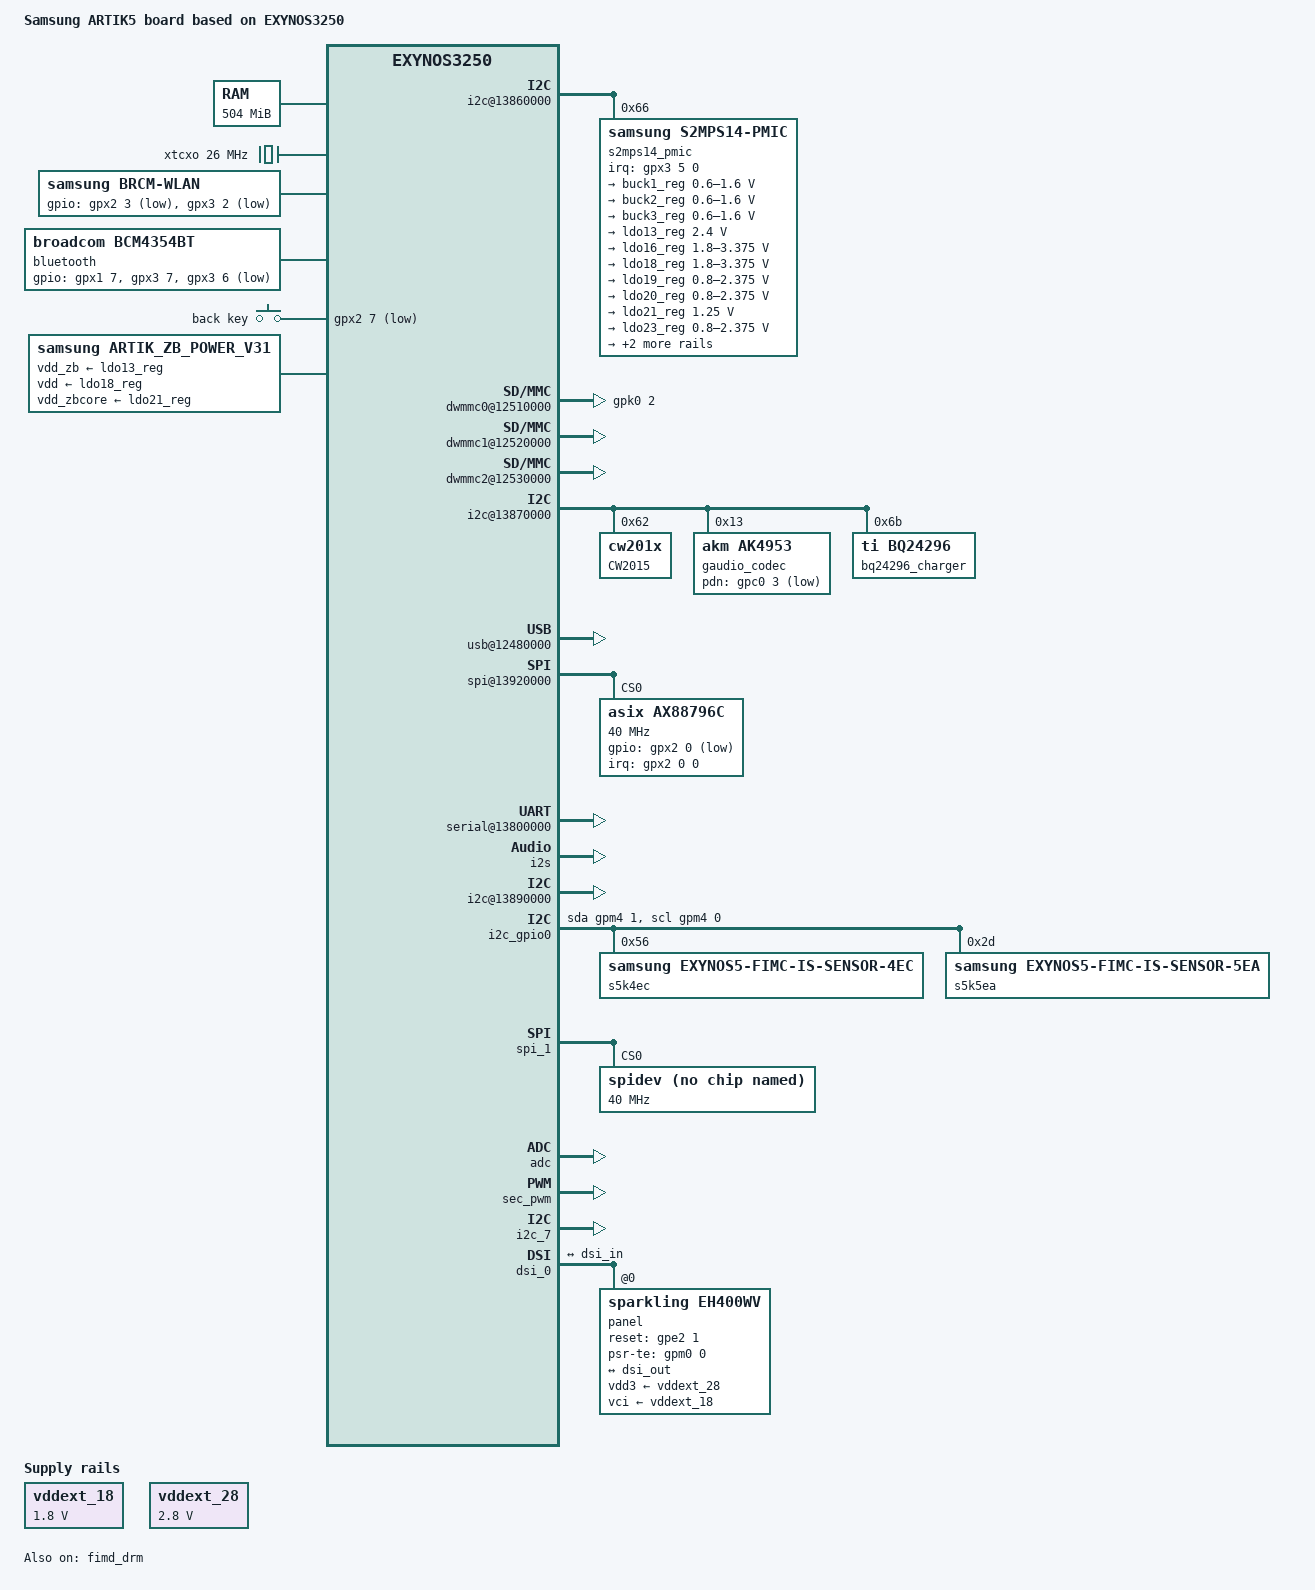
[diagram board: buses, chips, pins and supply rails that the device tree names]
/*
 * SAMSUNG ARTIK5 board device tree source
 *
 * Copyright (c) 2015 Samsung Electronics Co., Ltd.
 *		http://www.samsung.com
 *
 * This program is free software; you can redistribute it and/or modify
 * it under the terms of the GNU General Public License version 2 as
 * published by the Free Software Foundation.
*/

/dts-v1/;
#include "exynos3250.dtsi"

/ {
	model = "Samsung ARTIK5 board based on EXYNOS3250";
	compatible = "samsung,artik5", "samsung,exynos3250";

	chosen {
		bootargs = "console=ttySAC2,115200 vmalloc=256M ess_setup=0x46000000";
	};

	memory {
		reg = <0x40000000 0x1F800000>;
	};

	aliases {
		i2c8 = &i2c_gpio0;
	};

	fixed-rate-clocks {
		#address-cells = <1>;
		#size-cells = <0>;

		xrtcxti: clock@0 {
			compatible = "fixed-clock";
			reg = <0>;
			clock-frequency = <32768>;
			#clock-cells = <0>;
			clock-output-names = "xrtcxti";
		};

		xusbxti: clock@1 {
			compatible = "fixed-clock";
			clock-frequency = <24000000>;
			reg = <1>;
			#clock-cells = <0>;
			clock-output-names = "xusbxti";
		};

		xxti: clock@2 {
			compatible = "fixed-clock";
			reg = <2>;
			clock-frequency = <0>;
			#clock-cells = <0>;
			clock-output-names = "xxti";
			};

		xtcxo: clock@3 {
			compatible = "fixed-clock";
			reg = <3>;
			clock-frequency = <26000000>;
			#clock-cells = <0>;
			clock-output-names = "xtcxo";
		};

		audiocdclk: clock@4 {
			compatible = "fixed-clock";
			reg = <4>;
			clock-frequency = <0>;
			#clock-cells = <0>;
			clock-output-names = "audiocdclk";
		};
	};

	i2c@13860000 {
		status = "okay";
		samsung,i2c-sda-delay = <100>;
		samsung,i2c-max-bus-freq = <400000>;
		#size-cells = <0>;

		s2mps14_pmic@66 {
			compatible = "samsung,s2mps14-pmic";
			reg = <0x66>;
			interrupts = <5 0 0>;
			interrupt-parent = <&gpx3>;
			pinctrl-names = "default";
			pinctrl-0 = <&pmic_irq &pm_wrsti>;
			/* RTC: wtsr/smpl */
                        wtsr_en = <1>; /* enable */
                        smpl_en = <1>; /* enable */
                        wtsr_timer_val = <3>;   /* 1000ms */
                        smpl_timer_val = <4>;   /* 500ms */
                        check_jigon = <0>; /* do not check jigon */
                        /* RTC: If it's first boot, reset rtc to 1/1/2014 12:00:00(Wed) */
                        init_time,sec = <0>;
                        init_time,min = <0>;
                        init_time,hour = <12>;
                        init_time,mday = <1>;
                        init_time,mon = <0>;
                        init_time,year = <114>;
                        init_time,wday = <3>;

			regulators {
				buck1_reg: BUCK1 {
					regulator-name = "vdd_mif";
					regulator-min-microvolt = <600000>;
					regulator-max-microvolt = <1600000>;
					regulator-always-on;
					regulator-boot-on;
					regulator-ramp-delay = <12000>;
					regulator-initial-mode = <1>;
				};

				buck2_reg: BUCK2 {
					regulator-name = "vdd_arm";
					regulator-min-microvolt = <600000>;
					regulator-max-microvolt = <1600000>;
					regulator-always-on;
					regulator-boot-on;
					regulator-ramp-delay = <12000>;
					regulator-initial-mode = <1>;
				};

				buck3_reg: BUCK3 {
					regulator-name = "vdd_int";
					regulator-min-microvolt = <600000>;
					regulator-max-microvolt = <1600000>;
					regulator-always-on;
					regulator-boot-on;
					regulator-ramp-delay = <12000>;
					regulator-initial-mode = <1>;
				};

				ldo13_reg: LDO13 {
					regulator-name = "vdd_zb_2.8";
					regulator-min-microvolt = <2400000>;
					regulator-max-microvolt = <2400000>;
					regulator-initial-mode = <1>;
				};

				ldo16_reg: LDO16 {
					regulator-name = "vdd_lcd_3.3";
					regulator-min-microvolt = <1800000>;
					regulator-max-microvolt = <3375000>;
					regulator-initial-mode = <1>;
				};

				ldo18_reg: LDO18 {
					regulator-name = "vcc_peri_device_2.8";
					regulator-min-microvolt = <1800000>;
					regulator-max-microvolt = <3375000>;
					regulator-initial-mode = <1>;
				};

				ldo19_reg: LDO19 {
					regulator-name = "vcc_avdd_1.8";
					regulator-min-microvolt = <800000>;
					regulator-max-microvolt = <2375000>;
					regulator-initial-mode = <1>;
				};

				ldo20_reg: LDO20 {
					regulator-name = "vcc_peri_device_1.8";
					regulator-min-microvolt = <800000>;
					regulator-max-microvolt = <2375000>;
					regulator-initial-mode = <1>;
				};

				ldo21_reg: LDO21 {
					regulator-name = "zbcore_1.25";
					regulator-min-microvolt = <1250000>;
					regulator-max-microvolt = <1250000>;
					regulator-initial-mode = <1>;
				};

				ldo23_reg: LDO23 {
					regulator-name = "vcc_peri_1.8";
					regulator-min-microvolt = <800000>;
					regulator-max-microvolt = <2375000>;
					regulator-always-on;
				};

				ldo6_reg: LDO6 {
                                        regulator-name = "VDD_USB_AP_1.0V";
                                        regulator-min-microvolt = <1000000>;
                                        regulator-max-microvolt = <1000000>;
                                        regulator-always-on;
					regulator-initial-mode = <1>;
                                };

				ldo8_reg: LDO8 {
                                        regulator-name = "VDD_UOTG_AP_3.3V";
                                        regulator-min-microvolt = <3000000>;
                                        regulator-max-microvolt = <3000000>;
                                };

				ldo2_reg: LDO2 {
					regulator-always-on;
					regulator-initial-mode = <1>;
                                };

				ldo4_reg: LDO4 {
					regulator-always-on;
                                        regulator-initial-mode = <1>;
                                };

				ldo5_reg: LDO5 {
					regulator-always-on;
                                        regulator-initial-mode = <1>;
                                };

				ldo7_reg: LDO7 {
					regulator-always-on;
                                        regulator-initial-mode = <1>;
                                };
			};
		};
	};

	dwmmc0@12510000 {
		status = "okay";
		num-slots = <1>;
		broken-cd;
		bypass-smu;
		fixed_volt;
		only_once_tune;
		extra_tuning;
		supports-highspeed;
		enable-cache-control;
		sw_data_timeout;
		fifo-depth = <0x80>;
		card-detect-delay = <200>;
		samsung,dw-mshc-ciu-div = <3>;
		samsung,dw-mshc-sdr-timing = <3 0 2 1>;
		samsung,dw-mshc-ddr-timing = <3 0 4 2>;
		samsung,dw-mshc-hs200-timing = <3 0 2 0>;
		samsung,dw-mshc-ddr200-timing = <1 1 2 0>;
		num-ref-clks = <8>;
		gpios = <&gpk0 2 0x1>;
		ciu_clkin = <25 50 50 100 200 100 200 200>;
		pinctrl-names = "default";
		pinctrl-0 = <&sd0_clk &sd0_cmd &sd0_bus1 &sd0_bus4 &sd0_bus8>;

		slot@0 {
			reg = <0>;
			bus-width = <8>;
		};
	};

	dwmmc1@12520000 {
		status = "okay";
		num-slots = <1>;
		channel = <1>;
		caps-control;
		bypass-smu;
		clock-gate;
		enable-cclk-on-suspend;
		fixed_volt;
		use-fine-tuning;
		supports-highspeed;
		sw_data_timeout;
		keep-power-in-suspend;
		pm-ignore-notify;
		cd-type-external;
		cd-type = <2>;
		use-broken-voltage;
		fifo-depth = <0x40>;
		card-detect-delay = <200>;
		qos_int_level = <222000>;
		samsung,dw-mshc-ciu-div = <3>;
		samsung,dw-mshc-sdr-timing = <3 0 3 0>;
		samsung,dw-mshc-ddr-timing = <3 0 2 0>;
		clk_pin = "gpk1-0";
		clk_addr = "11000000.pinctrl";
		clk_val = <0x3>;
		clk_str_num = <4>;
		num-ref-clks = <8>;
		ciu_clkin = <25 50 50 100 200 100 200 400>;
		pinctrl-names = "default";
		pinctrl-0 = <&sd1_clk &sd1_cmd &sd1_bus1 &sd1_bus4>;

		slot@0 {
			reg = <0>;
			bus-width = <4>;
			disable-wp;
		};
	};

	dwmmc2@12530000 {
		status = "okay";
		num-slots = <1>;
		bypass-smu;
		supports-highspeed;
		fixed_volt;
		cd-type = <1>;
		fifo-depth = <0x80>;
		card-detect-delay = <200>;
		samsung,dw-mshc-ciu-div = <3>;
		samsung,dw-mshc-sdr-timing = <3 0 2 1>;
		samsung,dw-mshc-ddr-timing = <3 0 4 2>;
		num-ref-clks = <8>;
		ciu_clkin = <25 50 50 100 200 100 200 200>;
		pinctrl-names = "default";
		pinctrl-0 = <&sd2_clk &sd2_cmd &sd2_cd &sd2_bus1 &sd2_bus4>;

		slot@0 {
			reg = <0>;
			bus-width = <4>;
			disable-wp;
		};
	};

        ion {
                compatible = "samsung,exynos5430-ion";

		contig-names = "mfc_sh",
				"video",
				"mfc_fw",
				"mfc_nfw";

		contig = <2 0x100000 0x0>,
			<11 0xA00000 0x0>,
			<8 0x100000 0x0>,
			<12 0x100000 0x0>;

                ion_noncontig_heap {
                        id-type = <0 0>;
                };

		exynos_contig_heap {
			id-type = <4 6>;
		};

        };

	i2c@13870000 {
	        samsung,i2c-sda-delay = <25>;
	        samsung,i2c-max-bus-freq = <400000>;
	        #address-cells = <1>;
	        #size-cells = <0>;
	        status = "okay";

	        CW2015@62 {
	                compatible = "cw201x";
	                reg = <0x62>;
	                /*      pinctrl-0 = <&cw_irq>; */
	                bat_config_info = <0x17 0x67 0x6C 0x70 0x70 0x6F 0x6A 0x65 0x62 0x5B
	                                   0x55 0x4F 0x4A 0x46 0x43 0x3D 0x35 0x2B 0x26 0x22
	                                   0x21 0x2B 0x42 0x4D 0x49 0x49 0x0B 0x85 0x09 0x12
	                                   0x1D 0x3A 0x47 0x44 0x43 0x4B 0x39 0x17 0x37 0x48
	                                   0x04 0x16 0x52 0x87 0x8F 0x91 0x94 0x52 0x82 0x8C
	                                   0x92 0x96 0x81 0x6B 0xC0 0xCB 0x2F 0x7D 0x72 0xA5
	                                   0xB5 0xC1 0x6A 0x09>;
	                /*
	                 is_dc_charge = <1>;
	                 dc_det_gpio = <1>;
	                 is_usb_charge = <0>;
	                */
	        };
	};

	sysreg_localout: sysreg_localout@10010000 {
		compatible = "samsung,exynos5-sysreg_localout";
		reg = <0x10010000 0x2000>;
	};

	mdev_0: mdev_output {
		compatible = "samsung,exynos5-mdev";
	};

	usb@12480000 {
		vusb_d-supply = <&ldo6_reg>;
		vusb_a-supply = <&ldo8_reg>;
		status = "okay";
	};

	slp_multi: slp_multi {
		compatible = "slp,slp_multi";
		slp,slp_mult-nluns = <2>;
		slp,slp_mult-swfi-latency = <1>;
		slp,slp_mult-nfuncs = <4>;
		slp,slp_mult-enable-funcs = "rndis", "sdb", "mtp", "acm";
	};

	spi@13920000 {
		status = "okay";
			#address-cells = <1>;
			#size-cells = <0>;
		ax88796c@0 {
			compatible = "asix,ax88796c";
			gpios = <&gpx2 0 1>;
			interrupt-parent = <&gpx2>;
			interrupts = <0 0 0>;
			pinctrl-names = "default";
			pinctrl-0 = <&eint16>;
			spi-max-frequency = <40000000>;
			/* swap-mode; */
			/* spi-cpol; */
			/* spi-cpha; */
			reg = <0x0>;
			ax88796c,reset = <&gpe0 2 1>;
			clocks = <&clock CLK_FOUT_MPLL>,
				<&clock CLK_DIV_MPLL_PRE>,
				<&clock CLK_MOUT_SPI0>,
				<&clock CLK_SCLK_SPI0>;
			clock-names = "fout_mpll", "dout_mpll_pre", "mout_spi0", "sclk_spi0";
			controller-data {
				cs-gpio = <&gpx3 4 1>;
				samsung,spi-feedback-delay = <2>;
				samsung,spi-chip-select-mode;
			};
		};
	};

	serial@13800000 {
		status = "okay";
	};

	pinctrl@11000000 {
		cfg_wlanen: cfg-wlanen {
			samsung,pins = "gpx2-3";
			samsung,pin-function = <1>;
			samsung,pin-pud = <0>;
			samsung,pin-drv = <3>;
			samsung,pin-con-pdn = <3>;
			samsung,pin-pud-pdn = <0>;
		};

		cfg_wlanhostwake: cfg-wlanhostwake {
			samsung,pins = "gpx3-2";
			samsung,pin-function = <0>;
			samsung,pin-pud = <1>;
			samsung,pin-con-pdn = <2>;
			samsung,pin-pud-pdn = <0>;
		};

		cfg_en: cfg-en {
			samsung,pins ="gpx1-7";
			samsung,pin-function = <1>;
			samsung,pin-pud = <1>;
			samsung,pin-con-pdn = <3>;
			samsung,pin-pud-pdn = <1>;
		};

		cfg_btwake: cfg-btwake {
			samsung,pins = "gpx3-7";
			samsung,pin-function = <1>;
			samsung,pin-pud = <1>;
			samsung,pin-con-pdn = <0>;
			samsung,pin-pud-pdn = <1>;
		};

		cfg_hostwake: cfg-hostwake {
			samsung,pins = "gpx3-6";
			samsung,pin-function = <0>;
			samsung,pin-pud = <3>;
			samsung,pin-con-pdn = <2>;
			samsung,pin-pud-pdn = <0>;
		};

		zb_rstn: zb-rstn {
			samsung,pins = "gpm0-1";
			samsung,pin-function = <1>;
			samsung,pin-pud = <0>;
			samsung,pin-val = <1>;
			samsung,pin-con-pdn = <2>;
			samsung,pin-pud-pdn = <1>;
		};

		zb_bootloader: zb-bootloader {
			samsung,pins = "gpe0-0";
			samsung,pin-function = <1>;
			samsung,pin-pud = <0>;
			samsung,pin-val = <1>;
			samsung,pin-con-pdn = <2>;
			samsung,pin-pud-pdn = <1>;
		};
	};

	wlan {
		compatible = "samsung,brcm-wlan";
		gpios = <&gpx2 3 0x1	/* WLAN_EN */
			 &gpx3 2 0xF	/* WLAN_HOST_WAKE */
			>;
		pinctrl-names = "default";
		pinctrl-0=<&cfg_wlanen &cfg_wlanhostwake>;
		status = "okay";
	};

	serial@13800000 {
		force-auto-flow-control;
	};

	bluetooth {
		compatible = "broadcom,bcm4354bt";

		gpios = <&gpx1 7 0	/* BT_EN */
			 &gpx3 7 0	/* BT_WAKE */
			 &gpx3 6 0xF	/* BT_HOST_WAKE */
			 >;

		pinctrl-names = "default";
		pinctrl-0=<&cfg_hostwake &cfg_btwake &cfg_en>;
		status = "okay";
	};

	gpio_keys {
		compatible = "gpio-keys";
		/*Temporary changing for ARTIK to exit App using power key*/
		power_key {
			label = "back key";
			linux,code = <158>;
			gpios = <&gpx2 7 0x1>;
			gpios-key,wakeup = <1>;
			debounce-interval = <0>;
		};
		/*
		Original Power key mapping code
		power_key {
			label = "power key";
			linux,code = <116>;
			gpios = <&gpx2 7 0x1>;
			gpio-key,wakeup = <1>;
			debounce-interval = <0>;
		};
		*/
	};

	i2c@13870000 {
		status = "okay";
		samsung,i2c-sda-delay = <100>;
		samsung,i2c-max-bus-freq = <400000>;
		#size-cells = <0>;

		gaudio_codec: ak4953@13 {
			compatible = "akm,ak4953";
			reg = <0x13>;
			ak4953,pdn-gpio = <&gpc0 3 0x1>;
		};

		bq24296_charger@6b {
			compatible = "ti,bq24296";
			reg = <0x6b>;
			ti,chg_current = <1000 500 2000>;
		};
	};

	i2s: i2s@13970000 {
		status = "okay";
	};

	sound {
		compatible = "samsung,artik-ak4953";
		samsung,audio-cpu = <&i2s>;
		samsung,audio-codec = <&gaudio_codec>;
		clocks = <&clock CLK_MOUT_EPLL>,
			 <&clock CLK_FOUT_EPLL>,
			 <&clock CLK_MOUT_AUDIO>,
			 <&clock CLK_DIV_AUDIO>,
			 <&clock CLK_DIV_I2S>,
			 <&clock CLK_SCLK_I2S>;
		clock-names = "mout_epll", "fout_epll",
			      "mout_audio", "dout_audio",
			      "dout_i2s", "sclk_i2s";
		status = "okay";
	};

	artik_zb_power {
		compatible = "samsung,artik_zb_power_v31";
		pinctrl-names = "default";
		pinctrl-0 = <&zb_rstn &zb_bootloader>;
		vdd_zb-supply = <&ldo13_reg>;
		vdd-supply = <&ldo18_reg>;
		vdd_zbcore-supply = <&ldo21_reg>;
	};

	i2c@13890000 {
		samsung,i2c-sda-delay = <100>;
		samsung,i2c-max-bus-freq = <400000>;
		#size-cells = <0>;
		status = "okay";
	};

	regulators {
                compatible = "simple-bus";
                #address-cells = <1>;
                #size-cells = <0>;

		vddext_18: voltage-regulator-1 {
                        compatible = "regulator-fixed";
			regulator-name = "VDDEXT_18";
                        regulator-min-microvolt = <1800000>;
                        regulator-max-microvolt = <1800000>;
		};

		vddext_28: voltage-regulator-2 {
                        compatible = "regulator-fixed";
			regulator-name = "VDDEXT_28";
                        regulator-min-microvolt = <2800000>;
                        regulator-max-microvolt = <2800000>;
		};
	};

	i2c_gpio0: i2c@2d {
		compatible = "i2c-gpio";
		gpios = <&gpm4 1 0 &gpm4 0 0>;
		i2c-gpio,delay-us = <2>;    /* ~100kHz */
		#address-cells = <1>;
		#size-cells = <0>;
		status = "okay";

		s5k4ec@56 {
			compatible = "samsung,exynos5-fimc-is-sensor-4ec";
			reg = <0x56>;
		};

		s5k5ea@2d {
			compatible = "samsung,exynos5-fimc-is-sensor-5ea";
			reg = <0x2d>;
		};
	};

	fimc_is@14000000 {
		fixed_sensor_id = <14>;
		fimc_is_dvfs {
			default_int = <134000>; /* L1 */
			default_cam = <320000>; /* L0 */
			default_mif = <400000>; /* L0 */
			default_i2c = <0>;

			rear_preview_int = <134000>; /* L1 */
			rear_preview_cam = <320000>; /* L0 */
			rear_preview_mif = <400000>; /* L0 */
			rear_preview_i2c = <0>;

			rear_capture_int = <134000>; /* L1 */
			rear_capture_cam = <320000>; /* L0 */
			rear_capture_mif = <400000>; /* L0 */
			rear_capture_i2c = <0>;

			rear_camcording_int = <134000>; /* L1 */
			rear_camcording_cam = <320000>; /* L0 */
			rear_camcording_mif = <400000>; /* L0 */
			rear_camcording_i2c = <0>;

			max_int = <134000>; /* L1 */
			max_cam = <320000>; /* L0 */
			max_mif = <400000>; /* L0 */
			max_i2c = <0>;
		};
	};

	fimc_is_sensor0: fimc_is_sensor@120A0000 {
		scenario = <2>;
		gpio_reset = <&gpm3 2 0x1>;
		gpios_cam_en = <&gpm0 2 0x1>;
		id = <0>;
		mclk_ch = <1>;
		csi_ch = <0>;
		flite_ch = <0>;
		i2c_ch = <0>;
		i2c_addr = <0x20>;
		is_bns = <0>;
		status = "okay";
	};
};

&pmic_irq {
	samsung,pins = "gpx3-5";
	samsung,pin-function = <0xf>;
	samsung,pin-pud = <3>;
	samsung,pin-drv = <3>;
};

&pm_wrsti {
	samsung,pins = "gpe2-0";
	samsung,pin-pud = <3>;
	samsung,pin-con-pdn = <3>;
};

&spi_1 {
	status = "okay";
	#address-cells = <1>;
	#size-cells = <0>;

	spidev@0 {
		compatible = "spidev";
		reg = <0>;
		spi-max-frequency = <40000000>;

		controller-data {
			cs-gpio = <&gpb 5 0>;
			samsung,spi-feedback-delay = <2>;
			samsung,spi-chip-select-mode;
		};
	};
};

&adc {
	status = "okay";
	clock-names = "gate_adcif", "sclk";
	clocks = <&clock CLK_TSADC>, <&clock CLK_SCLK_TSADC>;
};

&sec_pwm {
	status = "okay";
	pinctrl-names = "default";
	pinctrl-0 = <&pwm0_out>, <&pwm1_out>;
};

&i2c_7 {
	status = "okay";
	samsung,sysreg-phandle = <&sys_reg>;
};

&dsi_0 {
	vddcore-supply = <&ldo6_reg>;
	vddio-supply = <&ldo6_reg>;
	samsung,pll-clock-frequency = <24000000>;
	status = "okay";

	ports {
		#address-cells = <1>;
		#size-cells = <0>;

		port@1 {
			reg = <1>;

			dsi_out: endpoint {
				remote-endpoint = <&dsi_in>;
				samsung,burst-clock-frequency = <400000000>;
				samsung,esc-clock-frequency = <7200000>;
			};
		};
	};

	panel@0 {
		compatible = "sparkling,eh400wv";
		reg = <0>;
		vdd3-supply = <&vddext_28>;
		vci-supply = <&vddext_18>;
		reset-gpio = <&gpe2 1 0>;
		psr-te-gpio = <&gpm0 0 0>;
		power-on-delay= <30>;
		power-off-delay= <120>;
		reset-delay = <5>;
		init-delay = <100>;
		flip-horizontal;
		flip-vertical;
		panel-width-mm = <52>;
		panel-height-mm = <86>;

		display-timings {
			timing-0 {
				clock-frequency = <24800400>;
				hactive = <480>;
				vactive = <800>;
				hfront-porch = <16>;
				hback-porch = <16>;
				hsync-len = <2>;
				vfront-porch = <28>;
				vback-porch = <28>;
				vsync-len = <2>;
			};
		};

		port {
			dsi_in: endpoint {
				remote-endpoint = <&dsi_out>;
			};
		};
	};
};

&fimd_drm {
	status = "okay";
};
